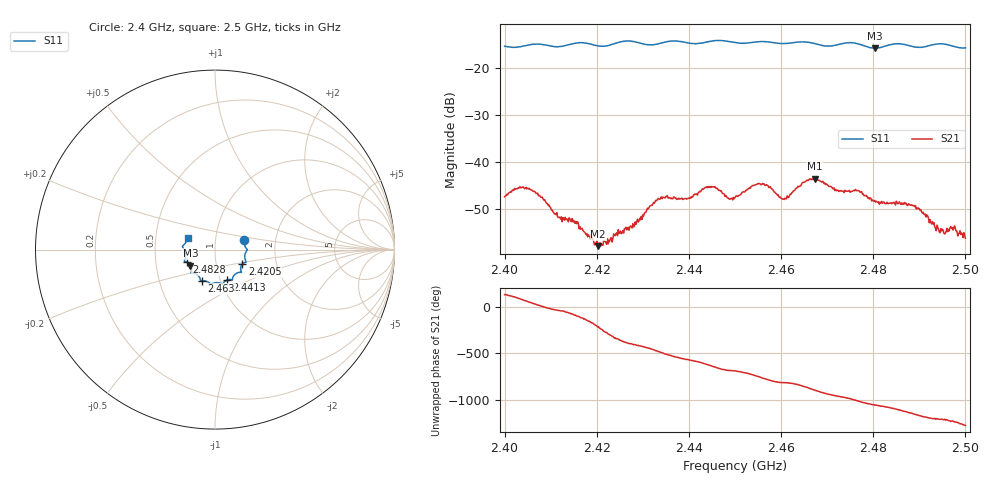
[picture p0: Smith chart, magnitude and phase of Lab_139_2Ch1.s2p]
# Hz S RI R 50
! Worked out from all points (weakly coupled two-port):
!   601 points, 2.4 GHz to 2.5 GHz, reference 50 ohm
!   highest |S21| = -43.54 dB at 2.4673 GHz (marker M1); lowest = -57.9 dB at 2.4203 GHz (marker M2)
!   lowest |S11| = -15.7 dB at 2.4803 GHz (marker M3), VSWR 1.39, Z = 37.4 - j6.82 ohm
!   |S11| at or under -10 dB: start of sweep to end of sweep
!   S12 and S22 are empty: the file has one direction only
!   S11 on the Smith chart (normalised r, x): 2.4 GHz: 1.38, +0.15; 2.4205 GHz: 1.34, -0.22; 2.4413 GHz: 1.08, -0.38; 2.463 GHz: 0.82, -0.29; 2.4828 GHz: 0.72, -0.10; 2.5 GHz: 0.73, +0.10
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2.4e9  0.1629 0.0526  -0.00268 0.00332  0 0  0 0
2.4055e9  0.178 0.00212  0.00356 0.00372  0 0  0 0
2.416667e9  0.1735 -0.0698  -0.00102 -0.00166  0 0  0 0
2.420333e9  0.153 -0.0801  -0.00106 0.000698  0 0  0 0
2.4205e9  0.1519 -0.081  -0.000963 0.000971  0 0  0 0
2.428e9  0.1446 -0.1266  0.00132 -0.00155  0 0  0 0
2.433333e9  0.1005 -0.1515  -0.00213 -0.0035  0 0  0 0
2.441333e9  0.0676 -0.1696  -0.0033 0.00319  0 0  0 0
2.445167e9  0.0432 -0.1904  0.00109 0.00536  0 0  0 0
2.45e9  0.0248 -0.1855  0.00365 0.00209  0 0  0 0
2.454833e9  -0.0154 -0.1902  0.00515 -0.00272  0 0  0 0
2.4605e9  -0.0509 -0.1759  -0.000508 -0.00401  0 0  0 0
2.463e9  -0.0721 -0.1735  -0.00179 -0.0047  0 0  0 0
2.466667e9  -0.0813 -0.1673  -0.00641 -0.00162  0 0  0 0
2.467333e9  -0.0829 -0.1629  -0.00664 -0.000431  0 0  0 0
2.480333e9  -0.1372 -0.0888  0.00363 0.00145  0 0  0 0
2.482833e9  -0.1584 -0.0701  0.00362 0.000191  0 0  0 0
2.483333e9  -0.1625 -0.0683  0.00362 -0.000163  0 0  0 0
2.488667e9  -0.1649 -0.0397  0.00111 -0.00325  0 0  0 0
2.494e9  -0.1807 0.015  -0.00116 -0.00167  0 0  0 0
2.497333e9  -0.1687 0.0314  -0.00159 -0.00102  0 0  0 0
2.5e9  -0.1519 0.0639  -0.00148 0.000423  0 0  0 0
